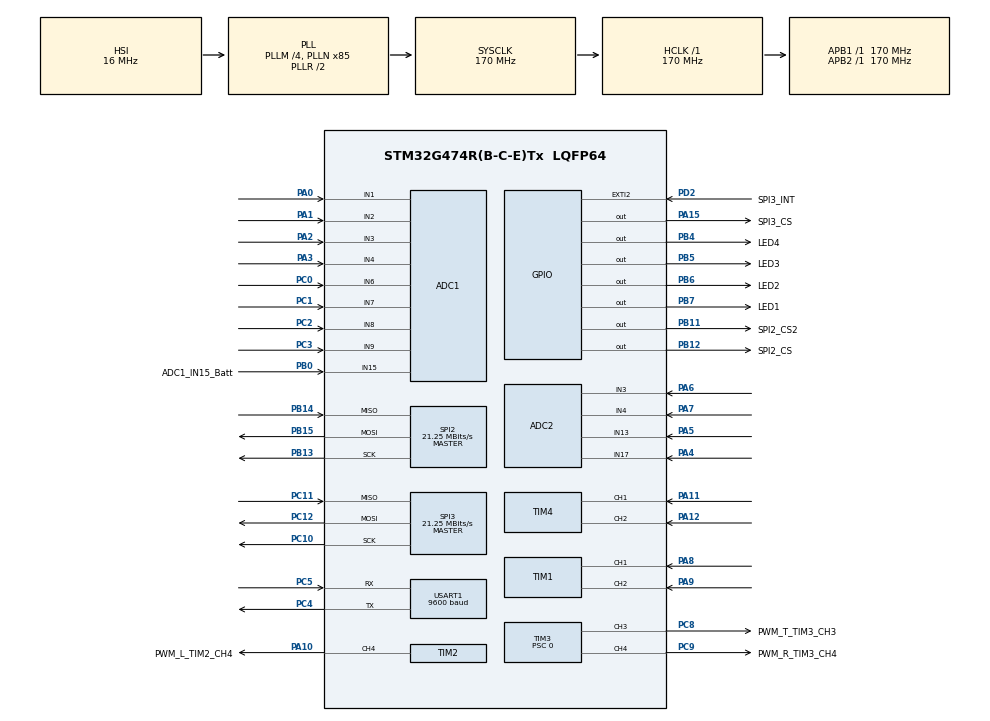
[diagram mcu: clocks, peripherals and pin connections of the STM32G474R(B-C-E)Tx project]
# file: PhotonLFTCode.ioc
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ADC1.Channel-0\#ChannelRegularConversion=ADC_CHANNEL_3
ADC1.Channel-1\#ChannelRegularConversion=ADC_CHANNEL_2
ADC1.Channel-2\#ChannelRegularConversion=ADC_CHANNEL_1
ADC1.Channel-3\#ChannelRegularConversion=ADC_CHANNEL_9
ADC1.Channel-4\#ChannelRegularConversion=ADC_CHANNEL_15
ADC1.Channel-5\#ChannelRegularConversion=ADC_CHANNEL_8
ADC1.Channel-6\#ChannelRegularConversion=ADC_CHANNEL_7
ADC1.Channel-7\#ChannelRegularConversion=ADC_CHANNEL_6
ADC1.Channel-8\#ChannelRegularConversion=ADC_CHANNEL_4
ADC1.ContinuousConvMode=ENABLE
ADC1.DMAContinuousRequests=ENABLE
ADC1.EnableAnalogWatchDog1=false
ADC1.NbrOfConversion=9
ADC1.NbrOfConversionFlag=1
ADC1.OffsetNumber-0\#ChannelRegularConversion=ADC_OFFSET_NONE
ADC1.OffsetNumber-1\#ChannelRegularConversion=ADC_OFFSET_NONE
ADC1.OffsetNumber-2\#ChannelRegularConversion=ADC_OFFSET_NONE
ADC1.OffsetNumber-3\#ChannelRegularConversion=ADC_OFFSET_NONE
ADC1.OffsetNumber-4\#ChannelRegularConversion=ADC_OFFSET_NONE
ADC1.OffsetNumber-5\#ChannelRegularConversion=ADC_OFFSET_NONE
ADC1.OffsetNumber-6\#ChannelRegularConversion=ADC_OFFSET_NONE
ADC1.OffsetNumber-7\#ChannelRegularConversion=ADC_OFFSET_NONE
ADC1.OffsetNumber-8\#ChannelRegularConversion=ADC_OFFSET_NONE
ADC1.Rank-0\#ChannelRegularConversion=1
ADC1.Rank-1\#ChannelRegularConversion=2
ADC1.Rank-2\#ChannelRegularConversion=3
ADC1.Rank-3\#ChannelRegularConversion=4
ADC1.Rank-4\#ChannelRegularConversion=5
ADC1.Rank-5\#ChannelRegularConversion=6
ADC1.Rank-6\#ChannelRegularConversion=7
ADC1.Rank-7\#ChannelRegularConversion=8
ADC1.Rank-8\#ChannelRegularConversion=9
ADC1.SamplingTime-0\#ChannelRegularConversion=ADC_SAMPLETIME_47CYCLES_5
ADC1.SamplingTime-1\#ChannelRegularConversion=ADC_SAMPLETIME_47CYCLES_5
ADC1.SamplingTime-2\#ChannelRegularConversion=ADC_SAMPLETIME_47CYCLES_5
ADC1.SamplingTime-3\#ChannelRegularConversion=ADC_SAMPLETIME_47CYCLES_5
ADC1.SamplingTime-4\#ChannelRegularConversion=ADC_SAMPLETIME_47CYCLES_5
ADC1.SamplingTime-5\#ChannelRegularConversion=ADC_SAMPLETIME_47CYCLES_5
ADC1.SamplingTime-6\#ChannelRegularConversion=ADC_SAMPLETIME_47CYCLES_5
ADC1.SamplingTime-7\#ChannelRegularConversion=ADC_SAMPLETIME_47CYCLES_5
ADC1.SamplingTime-8\#ChannelRegularConversion=ADC_SAMPLETIME_47CYCLES_5
ADC1.master=1
ADC2.Channel-0\#ChannelRegularConversion=ADC_CHANNEL_17
ADC2.Channel-1\#ChannelRegularConversion=ADC_CHANNEL_13
ADC2.Channel-2\#ChannelRegularConversion=ADC_CHANNEL_3
ADC2.Channel-3\#ChannelRegularConversion=ADC_CHANNEL_4
ADC2.ContinuousConvMode=ENABLE
ADC2.DMAContinuousRequests=ENABLE
ADC2.NbrOfConversion=4
ADC2.NbrOfConversionFlag=1
ADC2.OffsetNumber-0\#ChannelRegularConversion=ADC_OFFSET_NONE
ADC2.OffsetNumber-1\#ChannelRegularConversion=ADC_OFFSET_NONE
ADC2.OffsetNumber-2\#ChannelRegularConversion=ADC_OFFSET_NONE
ADC2.OffsetNumber-3\#ChannelRegularConversion=ADC_OFFSET_NONE
ADC2.Rank-0\#ChannelRegularConversion=1
ADC2.Rank-1\#ChannelRegularConversion=2
ADC2.Rank-2\#ChannelRegularConversion=3
ADC2.Rank-3\#ChannelRegularConversion=4
ADC2.SamplingTime-0\#ChannelRegularConversion=ADC_SAMPLETIME_47CYCLES_5
ADC2.SamplingTime-1\#ChannelRegularConversion=ADC_SAMPLETIME_47CYCLES_5
ADC2.SamplingTime-2\#ChannelRegularConversion=ADC_SAMPLETIME_47CYCLES_5
ADC2.SamplingTime-3\#ChannelRegularConversion=ADC_SAMPLETIME_47CYCLES_5
Dma.ADC1.0.Direction=DMA_PERIPH_TO_MEMORY
Dma.ADC1.0.EventEnable=DISABLE
Dma.ADC1.0.Instance=DMA1_Channel1
Dma.ADC1.0.MemDataAlignment=DMA_MDATAALIGN_HALFWORD
Dma.ADC1.0.MemInc=DMA_MINC_ENABLE
Dma.ADC1.0.Mode=DMA_CIRCULAR
Dma.ADC1.0.PeriphDataAlignment=DMA_PDATAALIGN_HALFWORD
Dma.ADC1.0.PeriphInc=DMA_PINC_DISABLE
Dma.ADC1.0.Polarity=HAL_DMAMUX_REQ_GEN_RISING
Dma.ADC1.0.Priority=DMA_PRIORITY_LOW
Dma.ADC1.0.RequestNumber=1
Dma.ADC1.0.SignalID=NONE
Dma.ADC1.0.SyncEnable=DISABLE
Dma.ADC1.0.SyncPolarity=HAL_DMAMUX_SYNC_NO_EVENT
Dma.ADC1.0.SyncRequestNumber=1
Dma.ADC1.0.SyncSignalID=NONE
Dma.ADC2.1.Direction=DMA_PERIPH_TO_MEMORY
Dma.ADC2.1.EventEnable=DISABLE
Dma.ADC2.1.Instance=DMA1_Channel2
Dma.ADC2.1.MemDataAlignment=DMA_MDATAALIGN_HALFWORD
Dma.ADC2.1.MemInc=DMA_MINC_ENABLE
Dma.ADC2.1.Mode=DMA_CIRCULAR
Dma.ADC2.1.PeriphDataAlignment=DMA_PDATAALIGN_HALFWORD
Dma.ADC2.1.PeriphInc=DMA_PINC_DISABLE
Dma.ADC2.1.Polarity=HAL_DMAMUX_REQ_GEN_RISING
Dma.ADC2.1.Priority=DMA_PRIORITY_LOW
Dma.ADC2.1.RequestNumber=1
Dma.ADC2.1.SignalID=NONE
Dma.ADC2.1.SyncEnable=DISABLE
Dma.ADC2.1.SyncPolarity=HAL_DMAMUX_SYNC_NO_EVENT
Dma.ADC2.1.SyncRequestNumber=1
Dma.ADC2.1.SyncSignalID=NONE
Dma.Request0=ADC1
Dma.Request1=ADC2
Dma.Request2=TIM3_CH3
Dma.Request3=TIM3_CH4
Dma.Request4=TIM2_CH4
Dma.TIM2_CH4.4.Direction=DMA_MEMORY_TO_PERIPH
Dma.TIM2_CH4.4.EventEnable=DISABLE
Dma.TIM2_CH4.4.Instance=DMA1_Channel5
Dma.TIM2_CH4.4.MemDataAlignment=DMA_MDATAALIGN_WORD
Dma.TIM2_CH4.4.MemInc=DMA_MINC_ENABLE
Dma.TIM2_CH4.4.Mode=DMA_NORMAL
Dma.TIM2_CH4.4.PeriphDataAlignment=DMA_PDATAALIGN_WORD
Dma.TIM2_CH4.4.PeriphInc=DMA_PINC_DISABLE
Dma.TIM2_CH4.4.Polarity=HAL_DMAMUX_REQ_GEN_RISING
Dma.TIM2_CH4.4.Priority=DMA_PRIORITY_VERY_HIGH
Dma.TIM2_CH4.4.RequestNumber=1
Dma.TIM2_CH4.4.SignalID=NONE
Dma.TIM2_CH4.4.SyncEnable=DISABLE
Dma.TIM2_CH4.4.SyncPolarity=HAL_DMAMUX_SYNC_NO_EVENT
Dma.TIM2_CH4.4.SyncRequestNumber=1
Dma.TIM2_CH4.4.SyncSignalID=NONE
Dma.TIM3_CH3.2.Direction=DMA_MEMORY_TO_PERIPH
Dma.TIM3_CH3.2.EventEnable=DISABLE
Dma.TIM3_CH3.2.Instance=DMA1_Channel3
Dma.TIM3_CH3.2.MemDataAlignment=DMA_MDATAALIGN_WORD
Dma.TIM3_CH3.2.MemInc=DMA_MINC_ENABLE
Dma.TIM3_CH3.2.Mode=DMA_NORMAL
Dma.TIM3_CH3.2.PeriphDataAlignment=DMA_PDATAALIGN_WORD
Dma.TIM3_CH3.2.PeriphInc=DMA_PINC_DISABLE
Dma.TIM3_CH3.2.Polarity=HAL_DMAMUX_REQ_GEN_RISING
Dma.TIM3_CH3.2.Priority=DMA_PRIORITY_VERY_HIGH
Dma.TIM3_CH3.2.RequestNumber=1
Dma.TIM3_CH3.2.SignalID=NONE
Dma.TIM3_CH3.2.SyncEnable=DISABLE
Dma.TIM3_CH3.2.SyncPolarity=HAL_DMAMUX_SYNC_NO_EVENT
Dma.TIM3_CH3.2.SyncRequestNumber=1
Dma.TIM3_CH3.2.SyncSignalID=NONE
Dma.TIM3_CH4.3.Direction=DMA_MEMORY_TO_PERIPH
Dma.TIM3_CH4.3.EventEnable=DISABLE
Dma.TIM3_CH4.3.Instance=DMA1_Channel4
Dma.TIM3_CH4.3.MemDataAlignment=DMA_MDATAALIGN_WORD
Dma.TIM3_CH4.3.MemInc=DMA_MINC_ENABLE
Dma.TIM3_CH4.3.Mode=DMA_NORMAL
Dma.TIM3_CH4.3.PeriphDataAlignment=DMA_PDATAALIGN_WORD
Dma.TIM3_CH4.3.PeriphInc=DMA_PINC_DISABLE
Dma.TIM3_CH4.3.Polarity=HAL_DMAMUX_REQ_GEN_RISING
Dma.TIM3_CH4.3.Priority=DMA_PRIORITY_VERY_HIGH
Dma.TIM3_CH4.3.RequestNumber=1
Dma.TIM3_CH4.3.SignalID=NONE
Dma.TIM3_CH4.3.SyncEnable=DISABLE
Dma.TIM3_CH4.3.SyncPolarity=HAL_DMAMUX_SYNC_NO_EVENT
Dma.TIM3_CH4.3.SyncRequestNumber=1
Dma.TIM3_CH4.3.SyncSignalID=NONE
Mcu.Family=STM32G4
Mcu.Name=STM32G474R(B-C-E)Tx
Mcu.Package=LQFP64
NVIC.DMA1_Channel1_IRQn=true\:0\:0\:false\:false\:true\:false\:true\:true
NVIC.DMA1_Channel2_IRQn=true\:0\:0\:false\:false\:true\:false\:true\:true
NVIC.DMA1_Channel3_IRQn=true\:0\:0\:false\:false\:true\:false\:true\:true
NVIC.DMA1_Channel4_IRQn=true\:0\:0\:false\:false\:true\:false\:true\:true
NVIC.DMA1_Channel5_IRQn=true\:0\:0\:false\:false\:true\:false\:true\:true
NVIC.PriorityGroup=NVIC_PRIORITYGROUP_4
NVIC.RCC_IRQn=true\:0\:0\:false\:false\:true\:true\:false\:true
NVIC.TIM20_UP_IRQn=true\:0\:0\:false\:false\:true\:true\:true\:true
NVIC.TIM2_IRQn=true\:0\:0\:false\:false\:true\:true\:true\:false
NVIC.TIM3_IRQn=true\:0\:0\:false\:false\:true\:true\:true\:false
NVIC.TIM5_IRQn=true\:0\:0\:false\:false\:true\:true\:true\:true
NVIC.USART1_IRQn=true\:0\:0\:false\:false\:true\:true\:true\:true
PA0.Mode=IN1-Single-Ended
PA0.Signal=ADC1_IN1
PA1.Mode=IN2-Single-Ended
PA1.Signal=ADC1_IN2
PA10.GPIO_Label=PWM_L_TIM2_CH4
PA10.Signal=S_TIM2_CH4
PA11.Signal=S_TIM4_CH1
PA12.Signal=S_TIM4_CH2
PA13.Mode=Serial_Wire
PA13.Signal=SYS_JTMS-SWDIO
PA14.Mode=Serial_Wire
PA14.Signal=SYS_JTCK-SWCLK
PA15.GPIO_Label=SPI3_CS
PA15.Signal=GPIO_Output
PA2.Mode=IN3-Single-Ended
PA2.Signal=ADC1_IN3
PA3.Mode=IN4-Single-Ended
PA3.Signal=ADC1_IN4
PA4.Mode=IN17-Single-Ended
PA4.Signal=ADC2_IN17
PA5.Mode=IN13-Single-Ended
PA5.Signal=ADC2_IN13
PA6.Mode=IN3-Single-Ended
PA6.Signal=ADC2_IN3
PA7.Mode=IN4-Single-Ended
PA7.Signal=ADC2_IN4
PA8.Signal=S_TIM1_CH1
PA9.Signal=S_TIM1_CH2
PB0.GPIO_Label=ADC1_IN15_Batt
PB0.Mode=IN15-Single-Ended
PB0.Signal=ADC1_IN15
PB11.GPIO_Label=SPI2_CS2
PB11.Signal=GPIO_Output
PB12.GPIO_Label=SPI2_CS
PB12.Signal=GPIO_Output
PB13.Mode=Full_Duplex_Master
PB13.Signal=SPI2_SCK
PB14.Mode=Full_Duplex_Master
PB14.Signal=SPI2_MISO
PB15.Mode=Full_Duplex_Master
PB15.Signal=SPI2_MOSI
PB4.GPIO_Label=LED4
PB4.Signal=GPIO_Output
PB5.GPIO_Label=LED3
PB5.Signal=GPIO_Output
PB6.GPIO_Label=LED2
PB6.Signal=GPIO_Output
PB7.GPIO_Label=LED1
PB7.Signal=GPIO_Output
PC0.Mode=IN6-Single-Ended
PC0.Signal=ADC1_IN6
PC1.Mode=IN7-Single-Ended
PC1.Signal=ADC1_IN7
PC10.Mode=Full_Duplex_Master
PC10.Signal=SPI3_SCK
PC11.Mode=Full_Duplex_Master
PC11.Signal=SPI3_MISO
PC12.Mode=Full_Duplex_Master
PC12.Signal=SPI3_MOSI
PC2.Mode=IN8-Single-Ended
PC2.Signal=ADC1_IN8
PC3.Mode=IN9-Single-Ended
PC3.Signal=ADC1_IN9
PC4.Mode=Asynchronous
PC4.Signal=USART1_TX
PC5.Mode=Asynchronous
PC5.Signal=USART1_RX
PC8.GPIO_Label=PWM_T_TIM3_CH3
PC8.Signal=S_TIM3_CH3
PC9.GPIO_Label=PWM_R_TIM3_CH4
PC9.Signal=S_TIM3_CH4
PD2.GPIO_Label=SPI3_INT
PD2.Signal=GPXTI2
PF0-OSC_IN.Mode=HSE-External-Oscillator
PF0-OSC_IN.Signal=RCC_OSC_IN
PF1-OSC_OUT.Mode=HSE-External-Oscillator
PF1-OSC_OUT.Signal=RCC_OSC_OUT
ProjectManager.HeapSize=0x200
ProjectManager.StackSize=0x400
ProjectManager.TargetToolchain=STM32CubeIDE
RCC.ADC12Freq_Value=170000000
RCC.ADC345Freq_Value=170000000
RCC.AHBFreq_Value=170000000
RCC.APB1Freq_Value=170000000
RCC.APB1TimFreq_Value=170000000
RCC.APB2Freq_Value=170000000
RCC.APB2TimFreq_Value=170000000
RCC.CortexFreq_Value=170000000
RCC.EXTERNAL_CLOCK_VALUE=12288000
RCC.HCLKFreq_Value=170000000
RCC.HSE_VALUE=24000000
RCC.HSI48_VALUE=48000000
RCC.HSI_VALUE=16000000
RCC.LSE_VALUE=32768
RCC.PLLM=RCC_PLLM_DIV4
RCC.PLLN=85
RCC.SYSCLKFreq_VALUE=170000000
RCC.SYSCLKSource=RCC_SYSCLKSOURCE_PLLCLK
RCC.USBFreq_Value=170000000
RCC.VCOOutputFreq_Value=340000000
SH.S_TIM1_CH1.0=TIM1_CH1,Encoder_Interface
SH.S_TIM1_CH2.0=TIM1_CH2,Encoder_Interface
SH.S_TIM2_CH4.0=TIM2_CH4,PWM Generation4 CH4
SH.S_TIM3_CH3.0=TIM3_CH3,PWM Generation3 CH3
SH.S_TIM3_CH4.0=TIM3_CH4,PWM Generation4 CH4
SH.S_TIM4_CH1.0=TIM4_CH1,Encoder_Interface
SH.S_TIM4_CH2.0=TIM4_CH2,Encoder_Interface
SPI2.BaudRatePrescaler=SPI_BAUDRATEPRESCALER_8
SPI2.CalculateBaudRate=21.25 MBits/s
SPI2.DataSize=SPI_DATASIZE_8BIT
SPI2.Direction=SPI_DIRECTION_2LINES
SPI2.Mode=SPI_MODE_MASTER
SPI2.VirtualType=VM_MASTER
SPI3.BaudRatePrescaler=SPI_BAUDRATEPRESCALER_8
SPI3.CalculateBaudRate=21.25 MBits/s
SPI3.DataSize=SPI_DATASIZE_8BIT
SPI3.Direction=SPI_DIRECTION_2LINES
SPI3.Mode=SPI_MODE_MASTER
SPI3.VirtualType=VM_MASTER
TIM1.EncoderMode=TIM_ENCODERMODE_TI1
TIM1.IC1Filter=10
TIM1.IC2Filter=10
TIM2.Channel-PWM\ Generation4\ CH4=TIM_CHANNEL_4
TIM2.OCFastMode_PWM-PWM\ Generation4\ CH4=TIM_OCFAST_DISABLE
TIM2.PeriodNoDither=286
TIM2.Prescaler=0
TIM20.CounterMode=TIM_COUNTERMODE_DOWN
TIM20.PeriodNoDither=999
TIM20.Prescaler=169
TIM3.Channel-PWM\ Generation3\ CH3=TIM_CHANNEL_3
TIM3.Channel-PWM\ Generation4\ CH4=TIM_CHANNEL_4
TIM3.OCFastMode_PWM-PWM\ Generation3\ CH3=TIM_OCFAST_DISABLE
TIM3.OCFastMode_PWM-PWM\ Generation4\ CH4=TIM_OCFAST_DISABLE
TIM3.PeriodNoDither=286
TIM3.Prescaler=0
TIM3.PulseNoDither_4=0
TIM4.IC1Filter=10
TIM4.IC2Filter=10
TIM5.CounterMode=TIM_COUNTERMODE_DOWN
TIM5.PeriodNoDither=499
TIM5.Prescaler=169
USART1.BaudRate=9600
USART1.VirtualMode-Asynchronous=VM_ASYNC
VP_FATFS_VS_Generic.Mode=User_defined
VP_SYS_VS_DBSignals.Mode=DisableDeadBatterySignals
VP_TIM20_VS_ClockSourceINT.Mode=Internal
VP_TIM2_VS_ClockSourceINT.Mode=Internal
VP_TIM5_VS_ClockSourceINT.Mode=Internal
board=custom

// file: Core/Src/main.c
/* USER CODE BEGIN Header */
/**
  ******************************************************************************
  * @file           : main.c
  * @brief          : Main program body
  ******************************************************************************
  * @attention
  *
  * Copyright (c) 2025 STMicroelectronics.
  * All rights reserved.
  *
  * This software is licensed under terms that can be found in the LICENSE file
  * in the root directory of this software component.
  * If no LICENSE file comes with this software, it is provided AS-IS.
  *
  ******************************************************************************
  */
/* USER CODE END Header */
#include "main.h"
#include "adc.h"
#include "dma.h"
#include "app_fatfs.h"
#include "spi.h"
#include "tim.h"
#include "usart.h"
#include "gpio.h"

/* USER CODE BEGIN Includes */
#include "BLDC_Motor.h"
#include "Line_Follower.h"
#include "SimpleParser.h"
#include "RingBuffer.h"
#include "motor.h"
#include "dshot.h"
/* USER CODE END Includes */

/* USER CODE BEGIN PV */
#define LOW_PASS_FILTER_ALPHA 0.99 //07

/*FatFS variables*/
FRESULT FatFsResult;
FATFS SdFatFs;
FIL SdCardFile;

LineFollower_t PHOTON;
motor_t Motor_L;
motor_t Motor_R;

/*Communication*/
char buffer[28];
uint8_t RxData;
RingBuffer_t RB, ReceiveBuffer;
uint8_t ReceivedData[32];
uint8_t ReceivedLines;
uint16_t my_motor_value[3] = {0, 0, 0};

uint32_t lasttime1;
uint32_t LastTime2;
uint32_t TurbineTime;
uint8_t TurbineReady;
/* USER CODE END PV */

void SystemClock_Config(void);
/* USER CODE BEGIN PFP */
void BLDC_Arm(TIM_HandleTypeDef *Timer, uint32_t Channel);
/* USER CODE END PFP */

int main(void)
{

  /* MCU Configuration--------------------------------------------------------*/

  /* Reset of all peripherals, Initializes the Flash interface and the Systick. */
  HAL_Init();

  /* Configure the system clock */
  SystemClock_Config();

  /* Initialize all configured peripherals */
  MX_GPIO_Init();
  MX_DMA_Init();
  MX_ADC1_Init();
  MX_SPI2_Init();
  MX_TIM1_Init();
  MX_TIM4_Init();
  MX_ADC2_Init();
  MX_SPI3_Init();
  MX_TIM2_Init();
  MX_TIM3_Init();
  MX_USART1_UART_Init();
  MX_TIM5_Init();
  MX_TIM20_Init();
  if (MX_FATFS_Init() != APP_OK) {
    Error_Handler();
  }
  /* USER CODE BEGIN 2 */
  /*Motors settings (m/s)*/
  PHOTON.Base_speed_R = 1.1;
  PHOTON.Base_speed_L = 1.1;
  PHOTON.Max_speed_L = 1.1;
  PHOTON.Max_speed_R = 1.1;
  PHOTON.Sharp_bend_speed_right = -0.35;
  PHOTON.Sharp_bend_speed_left = -0.9;
  PHOTON.Bend_speed_right = -0.35;
  PHOTON.Bend_speed_left = -0.95;
  /*PID*/
  PHOTON.Kp = 0.015;
  PHOTON.Kd = 0.08;
/*Turbine stock settings*/
  PHOTON.Turbine_Speed = 0;
  PHOTON.Turbine_Prep_Time = 1000;
  /*1m/s -> 100Banans/s*/
  Motor_L.PWM_to_MS_Scaler_value = 70;//OK 49
  Motor_R.PWM_to_MS_Scaler_value = 70;//OK 49

  //1Hz and 2KHz timers
  HAL_TIM_Base_Start_IT(&htim20);
  HAL_TIM_Base_Start_IT(&htim5);

  /*Start receiving data from Blue tooth*/
  HAL_ADC_Start_DMA(&hadc1, (uint32_t*)&PHOTON.Adc1_Values, 9);
  HAL_ADC_Start_DMA(&hadc2, (uint32_t*)&PHOTON.Adc2_Values, 4);
  HAL_UART_Receive_IT(&huart1, &RxData, 1);

  /*SD Card file initialization*/
  FatFsResult = f_mount(&SdFatFs, "", 1);
  //FatFsResult = f_open(&SdCardFile, "PHOTON.txt", FA_WRITE|FA_OPEN_APPEND);

  lasttime1 = HAL_GetTick();
  LastTime2 = HAL_GetTick();
  TurbineTime = HAL_GetTick();
  TurbineReady = 0;

  /*Sensor Preparation and entering STOP mode*/
  PHOTON.LastEndTimer = HAL_GetTick();
  PHOTON.treshold = 3000;//1500
  PHOTON.LineFollowing = 0;
  PHOTON.SimpleMapState = 0;
  int CurrentPoint = 0;

  /* Encoders initialization*/
  HAL_TIM_Encoder_Start(&htim4, TIM_CHANNEL_ALL); // Left Encoder
  HAL_TIM_Encoder_Start(&htim1, TIM_CHANNEL_ALL); // Right Encoder
  //         Motor     KP    KI
  Motor_Init(&Motor_R, 0.0, 0.0);//0.1 0.2 // 0.7 0.7
  Motor_Init(&Motor_L, 0.0, 0.0);
  LowPassFilter_Init(&Motor_R.EncoderRpmFilter, LOW_PASS_FILTER_ALPHA);
  LowPassFilter_Init(&Motor_L.EncoderRpmFilter, LOW_PASS_FILTER_ALPHA);
  LowPassFilter_Init(&Motor_L.MetersPerSecondLPF, LOW_PASS_FILTER_ALPHA);
  LowPassFilter_Init(&Motor_R.MetersPerSecondLPF, LOW_PASS_FILTER_ALPHA);

  /*Initialize DSHOT communication with ESCs*/
  dshot_init(DSHOT600);
  /* USER CODE END 2 */

  /* Infinite loop */
  while (1)
  {

    /* USER CODE BEGIN 3 */

	  /*Blink LED1*/
	  if(HAL_GetTick() > (lasttime1 + 500))
	  {
		  lasttime1 = HAL_GetTick();
		  HAL_GPIO_TogglePin(LED1_GPIO_Port, LED1_Pin);
	  }
	  /*Bluetooth check*/
 	  if(ReceivedLines > 0)
 	  {
 		  Parser_TakeLine(&ReceiveBuffer, ReceivedData);
 		  Parser_Parse(ReceivedData,&PHOTON);

 		  ReceivedLines--;
 	  }
 	  if(PHOTON.SimpleMapState == 1)
 	  {
 		  float DistanceTraveled = (Motor_L.DistanceTraveled + Motor_R.DistanceTraveled)/2;

 		  if(DistanceTraveled >= PHOTON.ChangePoint[CurrentPoint][0])
 		  {
 			  //change mode
 			 Read_Settings_From_EEprom(&PHOTON, PHOTON.ChangePoint[CurrentPoint][1]);
 			 CurrentPoint++;
 		  }
 		  if(CurrentPoint > PHOTON.ChangePointsCount)
 		  {
 			  CurrentPoint = PHOTON.ChangePointsCount;
 		  }
 	  }

  }
  /* USER CODE END 3 */
}

void SystemClock_Config(void)
{
  RCC_OscInitTypeDef RCC_OscInitStruct = {0};
  RCC_ClkInitTypeDef RCC_ClkInitStruct = {0};

  /** Configure the main internal regulator output voltage
  */
  HAL_PWREx_ControlVoltageScaling(PWR_REGULATOR_VOLTAGE_SCALE1_BOOST);

  /** Initializes the RCC Oscillators according to the specified parameters
  * in the RCC_OscInitTypeDef structure.
  */
  RCC_OscInitStruct.OscillatorType = RCC_OSCILLATORTYPE_HSI;
  RCC_OscInitStruct.HSIState = RCC_HSI_ON;
  RCC_OscInitStruct.HSICalibrationValue = RCC_HSICALIBRATION_DEFAULT;
  RCC_OscInitStruct.PLL.PLLState = RCC_PLL_ON;
  RCC_OscInitStruct.PLL.PLLSource = RCC_PLLSOURCE_HSI;
  RCC_OscInitStruct.PLL.PLLM = RCC_PLLM_DIV4;
  RCC_OscInitStruct.PLL.PLLN = 85;
  RCC_OscInitStruct.PLL.PLLP = RCC_PLLP_DIV2;
  RCC_OscInitStruct.PLL.PLLQ = RCC_PLLQ_DIV2;
  RCC_OscInitStruct.PLL.PLLR = RCC_PLLR_DIV2;
  if (HAL_RCC_OscConfig(&RCC_OscInitStruct) != HAL_OK)
  {
    Error_Handler();
  }

  /** Initializes the CPU, AHB and APB buses clocks
  */
  RCC_ClkInitStruct.ClockType = RCC_CLOCKTYPE_HCLK|RCC_CLOCKTYPE_SYSCLK
                              |RCC_CLOCKTYPE_PCLK1|RCC_CLOCKTYPE_PCLK2;
  RCC_ClkInitStruct.SYSCLKSource = RCC_SYSCLKSOURCE_PLLCLK;
  RCC_ClkInitStruct.AHBCLKDivider = RCC_SYSCLK_DIV1;
  RCC_ClkInitStruct.APB1CLKDivider = RCC_HCLK_DIV1;
  RCC_ClkInitStruct.APB2CLKDivider = RCC_HCLK_DIV1;

  if (HAL_RCC_ClockConfig(&RCC_ClkInitStruct, FLASH_LATENCY_4) != HAL_OK)
  {
    Error_Handler();
  }
}

/* USER CODE BEGIN 4 */
//Bluetooth communication
void HAL_UART_RxCpltCallback(UART_HandleTypeDef *huart)
{
	if(huart->Instance == USART1)
	{
		if(RB_Write(&ReceiveBuffer, RxData) == RB_OK)
		{
			if(RxData == ENDLINE)
			{
				ReceivedLines++;
			}
		}
    	HAL_UART_Receive_IT(&huart1,&RxData, 1);
	}
}

void HAL_TIM_PeriodElapsedCallback(TIM_HandleTypeDef *htim)
{
	//Encoders sampling and mapping 1KHz
	if(htim->Instance == TIM20)
	{
		/*Get Encoder values*/
		Motor_L.EncoderValue = __HAL_TIM_GET_COUNTER(&htim4);//4
		Motor_R.EncoderValue = __HAL_TIM_GET_COUNTER(&htim1);//1
		/*Set central point for encoders again*/
		htim4.Instance->CNT = 20000;
		htim1.Instance->CNT = 20000;

	    Motor_CalculateSpeed(&Motor_R);
	    Motor_CalculateSpeed(&Motor_L);

	}
	//Motor control and PID 2KHz
	if(htim->Instance == TIM5)
	{
		/*Startup, control of DSHOT communication & motor management*/
		PID_control(&PHOTON);
		dshot_write(my_motor_value);

		  /*ESC arming*/
		  if(HAL_GetTick() < (LastTime2 + 2000))//2000
		  {
				  my_motor_value[0] = 0;
				  my_motor_value[1] = 0;
				  my_motor_value[2] = 0;
		  }
		  else
		  {
			  /*Stop all motors*/
			  if(PHOTON.LineFollowing == 0)
			  {
				  /*Set motors speed to 0*/
				  my_motor_value[0] = 48;
				  my_motor_value[1] = 48;
				  my_motor_value[2] = 48;
			 	  TurbineReady = 0;
			  }
			  else
			  {
				  /*Starting sequence and line following*/
				  if(TurbineReady == 0)
				  {
					  TurbineTime = HAL_GetTick();
					  my_motor_value[0] = 48;
					  my_motor_value[1] = 48;
					  my_motor_value[2] = PHOTON.Turbine_Speed;// Creates vacuum under robot
					  TurbineReady = 1;
				  }
				  else if((TurbineReady == 1) && (HAL_GetTick() > (TurbineTime + PHOTON.Turbine_Prep_Time)))
				  {
					  /*Following the line after the vacuuming part is done*/
					  my_motor_value[2] = PHOTON.Turbine_Speed;
					  my_motor_value[1] = PHOTON.MotorL.Speed;//L
					  my_motor_value[0] = PHOTON.MotorR.Speed;//R

					  /*Update Average & Max Speed (m/s)*/
					  float currentSpeed = (Motor_R.MetersPerSecondLPF.output + Motor_L.MetersPerSecondLPF.output)/2;
					  PHOTON.AverageSpeedSum += currentSpeed;
					  PHOTON.AverageSpeedNum++;
					  PHOTON.AverageSpeed = PHOTON.AverageSpeedSum / PHOTON.AverageSpeedNum;

					  if(currentSpeed > PHOTON.MaxSpeed)
					  {
						  PHOTON.MaxSpeed = currentSpeed;
					  }
				  }
				  else
				  {
					  /*Vacuuming for given time*/
					  my_motor_value[0] = 48;
					  my_motor_value[1] = 48;
					  my_motor_value[2] = PHOTON.Turbine_Speed;
				  }
			  }
		  }

	}
}
/* USER CODE END 4 */

void Error_Handler(void)
{
  __disable_irq();
  while (1)
  {
  }
}
